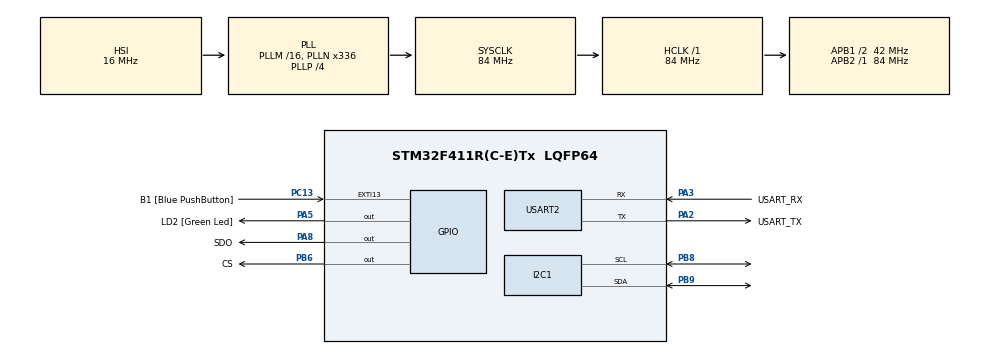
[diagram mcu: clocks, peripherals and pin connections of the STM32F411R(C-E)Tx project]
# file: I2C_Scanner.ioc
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Mcu.Family=STM32F4
Mcu.Name=STM32F411R(C-E)Tx
Mcu.Package=LQFP64
NVIC.PriorityGroup=NVIC_PRIORITYGROUP_0
PA13.GPIO_Label=TMS
PA13.Mode=Serial_Wire
PA13.Signal=SYS_JTMS-SWDIO
PA14.GPIO_Label=TCK
PA14.Mode=Serial_Wire
PA14.Signal=SYS_JTCK-SWCLK
PA2.GPIO_Label=USART_TX
PA2.Mode=Asynchronous
PA2.Signal=USART2_TX
PA3.GPIO_Label=USART_RX
PA3.Mode=Asynchronous
PA3.Signal=USART2_RX
PA5.GPIO_Label=LD2 [Green Led]
PA5.Signal=GPIO_Output
PA8.GPIO_Label=SDO
PA8.Signal=GPIO_Output
PB3.GPIO_Label=SWO
PB3.Signal=SYS_JTDO-SWO
PB6.GPIO_Label=CS
PB6.Signal=GPIO_Output
PB8.GPIO_Pu=GPIO_PULLUP
PB8.Mode=I2C
PB8.Signal=I2C1_SCL
PB9.GPIO_Pu=GPIO_PULLUP
PB9.Mode=I2C
PB9.Signal=I2C1_SDA
PC13-ANTI_TAMP.GPIO_Label=B1 [Blue PushButton]
PC13-ANTI_TAMP.GPIO_ModeDefaultEXTI=GPIO_MODE_IT_FALLING
PC13-ANTI_TAMP.Signal=GPXTI13
PC14-OSC32_IN.Mode=LSE-External-Oscillator
PC14-OSC32_IN.Signal=RCC_OSC32_IN
PC15-OSC32_OUT.Mode=LSE-External-Oscillator
PC15-OSC32_OUT.Signal=RCC_OSC32_OUT
PH0\ -\ OSC_IN.Mode=HSE-External-Clock-Source
PH0\ -\ OSC_IN.Signal=RCC_OSC_IN
PH1\ -\ OSC_OUT.Mode=HSE-External-Clock-Source
PH1\ -\ OSC_OUT.Signal=RCC_OSC_OUT
ProjectManager.HeapSize=0x200
ProjectManager.StackSize=0x400
ProjectManager.TargetToolchain=STM32CubeIDE
RCC.48MHZClocksFreq_Value=84000000
RCC.AHBFreq_Value=84000000
RCC.APB1CLKDivider=RCC_HCLK_DIV2
RCC.APB1Freq_Value=42000000
RCC.APB1TimFreq_Value=84000000
RCC.APB2Freq_Value=84000000
RCC.APB2TimFreq_Value=84000000
RCC.CortexFreq_Value=84000000
RCC.FLatency-AdvancedSettings=FLASH_LATENCY_2
RCC.HCLKFreq_Value=84000000
RCC.HSE_VALUE=8000000
RCC.HSI_VALUE=16000000
RCC.PLLN=336
RCC.PLLP=RCC_PLLP_DIV4
RCC.SYSCLKFreq_VALUE=84000000
RCC.SYSCLKSource=RCC_SYSCLKSOURCE_PLLCLK
RCC.VCOOutputFreq_Value=336000000
USART2.VirtualMode=VM_ASYNC
board=NUCLEO-F411RE

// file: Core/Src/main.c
/* USER CODE BEGIN Header */
/**
  ******************************************************************************
  * @file           : main.c
  * @brief          : Main program body
  ******************************************************************************
  * @attention
  *
  * Copyright (c) 2026 STMicroelectronics.
  * All rights reserved.
  *
  * This software is licensed under terms that can be found in the LICENSE file
  * in the root directory of this software component.
  * If no LICENSE file comes with this software, it is provided AS-IS.
  *
  ******************************************************************************
  */
/* USER CODE END Header */
#include "main.h"
#include "i2c.h"
#include "usart.h"
#include "gpio.h"

/* USER CODE BEGIN Includes */
#include <stdio.h>
/* USER CODE END Includes */

/* USER CODE BEGIN PV */
uint8_t Buffer[25] = {0};
uint8_t Space[] = " -- ";
uint8_t NewLine[] = "\r\n";
uint8_t StartMSG[] = "Starting I2C Scanning: \r\n";
uint8_t EndMSG[] = "\r\n ------ Done! ----- \r\n\r\n";
/* USER CODE END PV */

void SystemClock_Config(void);

int main(void)
{

  /* USER CODE BEGIN 1 */
	// определяем где выполняется программа, и корректируем расположение
	// таблицы векторов
	uint32_t retPCasm(void); // небольшая функция для определения где
	// выполняется программа в FLASH или RAM
	if ((retPCasm() & 0x20000000) != 0)
	{
		*((uint32_t *)0xe000ed08) = 0x20000000; /* FlagDebugInRAM=1;*/
	}

  /* USER CODE END 1 */

  /* MCU Configuration--------------------------------------------------------*/

  /* Reset of all peripherals, Initializes the Flash interface and the Systick. */
  HAL_Init();

  /* Configure the system clock */
  SystemClock_Config();

  /* Initialize all configured peripherals */
  MX_GPIO_Init();
  MX_USART2_UART_Init();
  MX_I2C1_Init();

  /* Infinite loop */
  /* USER CODE BEGIN WHILE */
  HAL_Delay(1000);
  HAL_GPIO_WritePin(SDO_GPIO_Port, SDO_Pin, GPIO_PIN_RESET);
  HAL_GPIO_WritePin(CS_GPIO_Port, CS_Pin, GPIO_PIN_SET);
  /*-[ I2C Bus Scanning ]-*/
  uint8_t i = 0, ret;
  uint16_t i2cAddress;
  uint16_t memAddress = 0x00;
  HAL_UART_Transmit(&huart2, StartMSG, sizeof(StartMSG), 10000);
  HAL_UART_Transmit(&huart2, Space, sizeof(Space), 10000);
  for (i = 1; i < 128; ++i)
  {
    if (i % 16 == 0)
    {
      HAL_UART_Transmit(&huart2, NewLine, sizeof(NewLine), 10000);
    }
    ret = HAL_I2C_IsDeviceReady(&hi2c1, (uint16_t)(i<<1), 3, 5);
    if (ret != HAL_OK) /* No ACK Received At That Address */
    {
      HAL_UART_Transmit(&huart2, Space, sizeof(Space), 10000);
    }
    else if(ret == HAL_OK)
    {
      sprintf((char *)Buffer, "0x%X", i);
      HAL_UART_Transmit(&huart2, Buffer, sizeof(Buffer), 10000);
      if (i == 0x68 || i == 0x69) // MPU6050
      {
        i2cAddress = i;
        memAddress = 0x00;
      }
      if (i == 0x53 || i == 0x1D) // ADXL345
      {
        i2cAddress = i;
        memAddress = 0x00;
      }
      if (i == 0x18 || i == 0x19) // LIS3DH
      {
        i2cAddress = i;
        memAddress = 0x0F;
      }
      if (i == 0x5C || i == 0x5D) // LPS22CH
      {
        i2cAddress = i;
        memAddress = 0x0F;
      }
    }
  }
  HAL_UART_Transmit(&huart2, EndMSG, sizeof(EndMSG), 10000);
  /*--[ Scanning Done ]--*/
  uint8_t chip_address;
  HAL_I2C_Mem_Read(&hi2c1, i2cAddress << 1, memAddress, 1, &chip_address, 1, 100);
  sprintf((char *)Buffer, "WHO_AM_I: 0x%X\r\n", chip_address);
  HAL_UART_Transmit(&huart2, Buffer, sizeof(Buffer), 10000);
  while (1)
  {
    /* USER CODE END WHILE */

  }
}

void SystemClock_Config(void)
{
  RCC_OscInitTypeDef RCC_OscInitStruct = {0};
  RCC_ClkInitTypeDef RCC_ClkInitStruct = {0};

  /** Configure the main internal regulator output voltage
  */
  __HAL_RCC_PWR_CLK_ENABLE();
  __HAL_PWR_VOLTAGESCALING_CONFIG(PWR_REGULATOR_VOLTAGE_SCALE1);

  /** Initializes the RCC Oscillators according to the specified parameters
  * in the RCC_OscInitTypeDef structure.
  */
  RCC_OscInitStruct.OscillatorType = RCC_OSCILLATORTYPE_HSI;
  RCC_OscInitStruct.HSIState = RCC_HSI_ON;
  RCC_OscInitStruct.HSICalibrationValue = RCC_HSICALIBRATION_DEFAULT;
  RCC_OscInitStruct.PLL.PLLState = RCC_PLL_ON;
  RCC_OscInitStruct.PLL.PLLSource = RCC_PLLSOURCE_HSI;
  RCC_OscInitStruct.PLL.PLLM = 16;
  RCC_OscInitStruct.PLL.PLLN = 336;
  RCC_OscInitStruct.PLL.PLLP = RCC_PLLP_DIV4;
  RCC_OscInitStruct.PLL.PLLQ = 4;
  if (HAL_RCC_OscConfig(&RCC_OscInitStruct) != HAL_OK)
  {
    Error_Handler();
  }

  /** Initializes the CPU, AHB and APB buses clocks
  */
  RCC_ClkInitStruct.ClockType = RCC_CLOCKTYPE_HCLK|RCC_CLOCKTYPE_SYSCLK
                              |RCC_CLOCKTYPE_PCLK1|RCC_CLOCKTYPE_PCLK2;
  RCC_ClkInitStruct.SYSCLKSource = RCC_SYSCLKSOURCE_PLLCLK;
  RCC_ClkInitStruct.AHBCLKDivider = RCC_SYSCLK_DIV1;
  RCC_ClkInitStruct.APB1CLKDivider = RCC_HCLK_DIV2;
  RCC_ClkInitStruct.APB2CLKDivider = RCC_HCLK_DIV1;

  if (HAL_RCC_ClockConfig(&RCC_ClkInitStruct, FLASH_LATENCY_2) != HAL_OK)
  {
    Error_Handler();
  }
}

void Error_Handler(void)
{
  __disable_irq();
  while (1)
  {
  }
}
